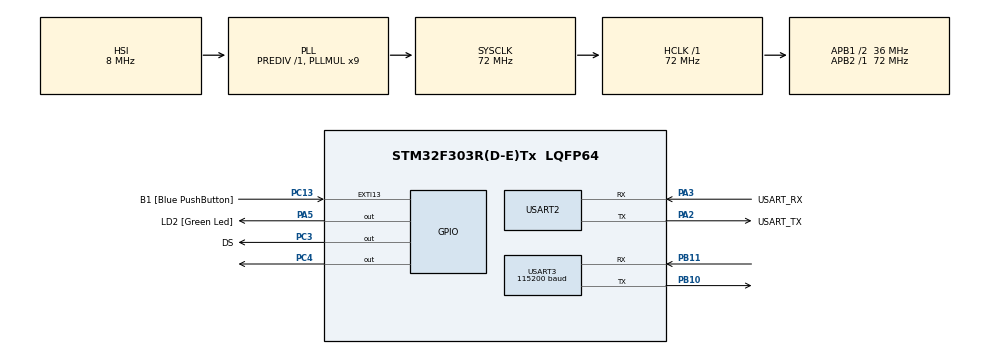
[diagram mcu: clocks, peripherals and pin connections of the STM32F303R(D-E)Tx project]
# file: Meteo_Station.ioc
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Mcu.Family=STM32F3
Mcu.Name=STM32F303R(D-E)Tx
Mcu.Package=LQFP64
NVIC.PriorityGroup=NVIC_PRIORITYGROUP_0
NVIC.TIM1_TRG_COM_TIM17_IRQn=true\:0\:0\:false\:false\:true\:true\:true\:true
NVIC.TIM1_UP_TIM16_IRQn=true\:0\:0\:false\:false\:true\:true\:true\:true
NVIC.USART3_IRQn=true\:0\:0\:false\:false\:true\:true\:true\:true
PA13.GPIO_Label=TMS
PA13.Signal=SYS_JTMS-SWDIO
PA14.GPIO_Label=TCK
PA14.Signal=SYS_JTCK-SWCLK
PA2.GPIO_Label=USART_TX
PA2.GPIO_Mode=GPIO_MODE_AF_PP
PA2.GPIO_PuPd=GPIO_NOPULL
PA2.GPIO_Speed=GPIO_SPEED_FREQ_LOW
PA2.Mode=Asynchronous
PA2.Signal=USART2_TX
PA3.GPIO_Label=USART_RX
PA3.GPIO_Mode=GPIO_MODE_AF_PP
PA3.GPIO_PuPd=GPIO_NOPULL
PA3.GPIO_Speed=GPIO_SPEED_FREQ_LOW
PA3.Mode=Asynchronous
PA3.Signal=USART2_RX
PA5.GPIO_Label=LD2 [Green Led]
PA5.GPIO_Mode=GPIO_MODE_OUTPUT_PP
PA5.GPIO_PuPd=GPIO_NOPULL
PA5.GPIO_Speed=GPIO_SPEED_FREQ_LOW
PA5.Signal=GPIO_Output
PB10.Mode=Asynchronous
PB10.Signal=USART3_TX
PB11.Mode=Asynchronous
PB11.Signal=USART3_RX
PB3.GPIO_Label=SWO
PB3.Signal=SYS_JTDO-TRACESWO
PC13.GPIO_Label=B1 [Blue PushButton]
PC13.GPIO_ModeDefaultEXTI=GPIO_MODE_IT_FALLING
PC13.Signal=GPXTI13
PC14-OSC32_IN.Mode=LSE-External-Oscillator
PC14-OSC32_IN.Signal=RCC_OSC32_IN
PC15-OSC32_OUT.Mode=LSE-External-Oscillator
PC15-OSC32_OUT.Signal=RCC_OSC32_OUT
PC3.GPIO_Label=DS
PC3.GPIO_ModeDefaultOutputPP=GPIO_MODE_OUTPUT_OD
PC3.GPIO_PuPd=GPIO_NOPULL
PC3.GPIO_Speed=GPIO_SPEED_FREQ_LOW
PC3.PinState=GPIO_PIN_SET
PC3.Signal=GPIO_Output
PC4.PinState=GPIO_PIN_SET
PC4.Signal=GPIO_Output
PF0-OSC_IN.Mode=HSE-External-Oscillator
PF0-OSC_IN.Signal=RCC_OSC_IN
PF1-OSC_OUT.Mode=HSE-External-Oscillator
PF1-OSC_OUT.Signal=RCC_OSC_OUT
ProjectManager.HeapSize=0x200
ProjectManager.StackSize=0x400
ProjectManager.TargetToolchain=STM32CubeIDE
RCC.AHBFreq_Value=72000000
RCC.APB1CLKDivider=RCC_HCLK_DIV2
RCC.APB1Freq_Value=36000000
RCC.APB1TimFreq_Value=72000000
RCC.APB2Freq_Value=72000000
RCC.APB2TimFreq_Value=72000000
RCC.CortexFreq_Value=72000000
RCC.HCLKFreq_Value=72000000
RCC.HSE_VALUE=8000000
RCC.HSI_VALUE=8000000
RCC.PLLM=8
RCC.PLLMUL=RCC_PLL_MUL9
RCC.PLLN=336
RCC.PLLP=RCC_PLLP_DIV4
RCC.PLLQ=7
RCC.RCC_PLLsource_Clock_Source_FROM_HSE=RCC_HSE_PREDIV_DIV2
RCC.SYSCLKFreq_VALUE=72000000
RCC.SYSCLKSourceVirtual=RCC_SYSCLKSOURCE_PLLCLK
RCC.USBFreq_Value=72000000
TIM16.Period=62499
TIM16.Prescaler=1151
TIM17.Period=49999
TIM4.Period=0xffff-1
TIM4.Prescaler=72-1
USART2.VirtualMode-Asynchronous=VM_ASYNC
USART3.BaudRate=115200
USART3.VirtualMode-Asynchronous=VM_ASYNC
VP_TIM16_VS_ClockSourceINT.Mode=Enable_Timer
VP_TIM17_VS_ClockSourceINT.Mode=Enable_Timer
VP_TIM4_VS_ClockSourceINT.Mode=Internal
board=NUCLEO-F303RE

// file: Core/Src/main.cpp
/* USER CODE BEGIN Header */
/**
  ******************************************************************************
  * @file           : main.c
  * @brief          : Main program body
  ******************************************************************************
  * @attention
  *
  * Copyright (c) 2024 STMicroelectronics.
  * All rights reserved.
  *
  * This software is licensed under terms that can be found in the LICENSE file
  * in the root directory of this software component.
  * If no LICENSE file comes with this software, it is provided AS-IS.
  *
  ******************************************************************************
  */
/* USER CODE END Header */
#include "main.h"
/* USER CODE BEGIN Includes */
#include "Manager.hpp"
#include <string>
/* USER CODE END Includes */

TIM_HandleTypeDef htim4;
TIM_HandleTypeDef htim16;
TIM_HandleTypeDef htim17;

UART_HandleTypeDef huart2;
UART_HandleTypeDef huart3;

/* USER CODE BEGIN PV */
Manager* project;
/* USER CODE END PV */

void SystemClock_Config(void);
static void MX_GPIO_Init(void);
static void MX_USART2_UART_Init(void);
static void MX_TIM4_Init(void);
static void MX_TIM16_Init(void);
static void MX_USART3_UART_Init(void);
static void MX_TIM17_Init(void);

/* USER CODE BEGIN 0 */
void HAL_UART_RxCpltCallback(UART_HandleTypeDef *huart) {
	if (huart->Instance == USART3) {
		project->M_WiFiReceivingInterupt();
	}
}

void HAL_TIM_PeriodElapsedCallback(TIM_HandleTypeDef *htim){
	if(htim->Instance == TIM17){
		project->M_WiFiCounterInterupt();
	}
	if(htim->Instance == TIM16){
		if(project->wifiStatus) {
			project->M_PeriodicReadings();
			project->M_SendMeasurements();
		}
	}
}
/* USER CODE END 0 */

int main(void)
{

  /* MCU Configuration--------------------------------------------------------*/

  /* Reset of all peripherals, Initializes the Flash interface and the Systick. */
  HAL_Init();

  /* Configure the system clock */
  SystemClock_Config();

  /* Initialize all configured peripherals */
  MX_GPIO_Init();
  MX_USART2_UART_Init();
  MX_TIM4_Init();
  MX_TIM16_Init();
  MX_USART3_UART_Init();
  MX_TIM17_Init();
  /* USER CODE BEGIN 2 */

  __HAL_RCC_TIM4_CLK_ENABLE();
  HAL_TIM_Base_Start(&htim4);

  project = new Manager();

  HAL_TIM_Base_Start_IT(&htim16);
  HAL_TIM_Base_Start_IT(&htim17);
  /* USER CODE END 2 */

  /* Infinite loop */
  while (1)
  {
	project->M_ComponentInit();
	if(project->wifiStatus) {
		project->M_PeriodicReadings();
		project->M_SendMeasurements();
		HAL_Delay(180000);
	}
  }
}

void SystemClock_Config(void)
{
  RCC_OscInitTypeDef RCC_OscInitStruct = {0};
  RCC_ClkInitTypeDef RCC_ClkInitStruct = {0};
  RCC_PeriphCLKInitTypeDef PeriphClkInit = {0};

  /** Initializes the RCC Oscillators according to the specified parameters
  * in the RCC_OscInitTypeDef structure.
  */
  RCC_OscInitStruct.OscillatorType = RCC_OSCILLATORTYPE_HSI;
  RCC_OscInitStruct.HSIState = RCC_HSI_ON;
  RCC_OscInitStruct.HSICalibrationValue = RCC_HSICALIBRATION_DEFAULT;
  RCC_OscInitStruct.PLL.PLLState = RCC_PLL_ON;
  RCC_OscInitStruct.PLL.PLLSource = RCC_PLLSOURCE_HSI;
  RCC_OscInitStruct.PLL.PLLMUL = RCC_PLL_MUL9;
  RCC_OscInitStruct.PLL.PREDIV = RCC_PREDIV_DIV1;
  if (HAL_RCC_OscConfig(&RCC_OscInitStruct) != HAL_OK)
  {
    Error_Handler();
  }

  /** Initializes the CPU, AHB and APB buses clocks
  */
  RCC_ClkInitStruct.ClockType = RCC_CLOCKTYPE_HCLK|RCC_CLOCKTYPE_SYSCLK
                              |RCC_CLOCKTYPE_PCLK1|RCC_CLOCKTYPE_PCLK2;
  RCC_ClkInitStruct.SYSCLKSource = RCC_SYSCLKSOURCE_PLLCLK;
  RCC_ClkInitStruct.AHBCLKDivider = RCC_SYSCLK_DIV1;
  RCC_ClkInitStruct.APB1CLKDivider = RCC_HCLK_DIV2;
  RCC_ClkInitStruct.APB2CLKDivider = RCC_HCLK_DIV1;

  if (HAL_RCC_ClockConfig(&RCC_ClkInitStruct, FLASH_LATENCY_2) != HAL_OK)
  {
    Error_Handler();
  }
  PeriphClkInit.PeriphClockSelection = RCC_PERIPHCLK_USART2|RCC_PERIPHCLK_USART3
                              |RCC_PERIPHCLK_TIM16|RCC_PERIPHCLK_TIM17
                              |RCC_PERIPHCLK_TIM34;
  PeriphClkInit.Usart2ClockSelection = RCC_USART2CLKSOURCE_PCLK1;
  PeriphClkInit.Usart3ClockSelection = RCC_USART3CLKSOURCE_PCLK1;
  PeriphClkInit.Tim16ClockSelection = RCC_TIM16CLK_HCLK;
  PeriphClkInit.Tim17ClockSelection = RCC_TIM17CLK_HCLK;
  PeriphClkInit.Tim34ClockSelection = RCC_TIM34CLK_HCLK;
  if (HAL_RCCEx_PeriphCLKConfig(&PeriphClkInit) != HAL_OK)
  {
    Error_Handler();
  }
}

static void MX_TIM4_Init(void)
{

  TIM_ClockConfigTypeDef sClockSourceConfig = {0};
  TIM_MasterConfigTypeDef sMasterConfig = {0};

  htim4.Instance = TIM4;
  htim4.Init.Prescaler = 72-1;
  htim4.Init.CounterMode = TIM_COUNTERMODE_UP;
  htim4.Init.Period = 0xffff-1;
  htim4.Init.ClockDivision = TIM_CLOCKDIVISION_DIV1;
  htim4.Init.AutoReloadPreload = TIM_AUTORELOAD_PRELOAD_DISABLE;
  if (HAL_TIM_Base_Init(&htim4) != HAL_OK)
  {
    Error_Handler();
  }
  sClockSourceConfig.ClockSource = TIM_CLOCKSOURCE_INTERNAL;
  if (HAL_TIM_ConfigClockSource(&htim4, &sClockSourceConfig) != HAL_OK)
  {
    Error_Handler();
  }
  sMasterConfig.MasterOutputTrigger = TIM_TRGO_RESET;
  sMasterConfig.MasterSlaveMode = TIM_MASTERSLAVEMODE_DISABLE;
  if (HAL_TIMEx_MasterConfigSynchronization(&htim4, &sMasterConfig) != HAL_OK)
  {
    Error_Handler();
  }

}

static void MX_TIM16_Init(void)
{

  htim16.Instance = TIM16;
  htim16.Init.Prescaler = 64871;
  htim16.Init.CounterMode = TIM_COUNTERMODE_UP;
  htim16.Init.Period = 65481;
  htim16.Init.ClockDivision = TIM_CLOCKDIVISION_DIV1;
  htim16.Init.RepetitionCounter = 0;
  htim16.Init.AutoReloadPreload = TIM_AUTORELOAD_PRELOAD_DISABLE;
  if (HAL_TIM_Base_Init(&htim16) != HAL_OK)
  {
    Error_Handler();
  }

}

static void MX_TIM17_Init(void)
{

  htim17.Instance = TIM17;
  htim17.Init.Prescaler = 11;
  htim17.Init.CounterMode = TIM_COUNTERMODE_UP;
  htim17.Init.Period = 59999;
  htim17.Init.ClockDivision = TIM_CLOCKDIVISION_DIV1;
  htim17.Init.RepetitionCounter = 0;
  htim17.Init.AutoReloadPreload = TIM_AUTORELOAD_PRELOAD_DISABLE;
  if (HAL_TIM_Base_Init(&htim17) != HAL_OK)
  {
    Error_Handler();
  }

}

static void MX_USART2_UART_Init(void)
{

  huart2.Instance = USART2;
  huart2.Init.BaudRate = 38400;
  huart2.Init.WordLength = UART_WORDLENGTH_8B;
  huart2.Init.StopBits = UART_STOPBITS_1;
  huart2.Init.Parity = UART_PARITY_NONE;
  huart2.Init.Mode = UART_MODE_TX_RX;
  huart2.Init.HwFlowCtl = UART_HWCONTROL_NONE;
  huart2.Init.OverSampling = UART_OVERSAMPLING_16;
  huart2.Init.OneBitSampling = UART_ONE_BIT_SAMPLE_DISABLE;
  huart2.AdvancedInit.AdvFeatureInit = UART_ADVFEATURE_NO_INIT;
  if (HAL_UART_Init(&huart2) != HAL_OK)
  {
    Error_Handler();
  }

}

static void MX_USART3_UART_Init(void)
{

  huart3.Instance = USART3;
  huart3.Init.BaudRate = 115200;
  huart3.Init.WordLength = UART_WORDLENGTH_8B;
  huart3.Init.StopBits = UART_STOPBITS_1;
  huart3.Init.Parity = UART_PARITY_NONE;
  huart3.Init.Mode = UART_MODE_TX_RX;
  huart3.Init.HwFlowCtl = UART_HWCONTROL_NONE;
  huart3.Init.OverSampling = UART_OVERSAMPLING_16;
  huart3.Init.OneBitSampling = UART_ONE_BIT_SAMPLE_DISABLE;
  huart3.AdvancedInit.AdvFeatureInit = UART_ADVFEATURE_NO_INIT;
  if (HAL_UART_Init(&huart3) != HAL_OK)
  {
    Error_Handler();
  }

}

static void MX_GPIO_Init(void)
{
  GPIO_InitTypeDef GPIO_InitStruct = {0};

  /* GPIO Ports Clock Enable */
  __HAL_RCC_GPIOC_CLK_ENABLE();
  __HAL_RCC_GPIOF_CLK_ENABLE();
  __HAL_RCC_GPIOA_CLK_ENABLE();
  __HAL_RCC_GPIOB_CLK_ENABLE();

  /*Configure GPIO pin Output Level */
  HAL_GPIO_WritePin(GPIOC, DS_Pin|GPIO_PIN_4, GPIO_PIN_SET);

  /*Configure GPIO pin Output Level */
  HAL_GPIO_WritePin(LD2_GPIO_Port, LD2_Pin, GPIO_PIN_RESET);

  /*Configure GPIO pin : B1_Pin */
  GPIO_InitStruct.Pin = B1_Pin;
  GPIO_InitStruct.Mode = GPIO_MODE_IT_FALLING;
  GPIO_InitStruct.Pull = GPIO_NOPULL;
  HAL_GPIO_Init(B1_GPIO_Port, &GPIO_InitStruct);

  /*Configure GPIO pin : DS_Pin */
  GPIO_InitStruct.Pin = DS_Pin;
  GPIO_InitStruct.Mode = GPIO_MODE_OUTPUT_OD;
  GPIO_InitStruct.Pull = GPIO_NOPULL;
  GPIO_InitStruct.Speed = GPIO_SPEED_FREQ_LOW;
  HAL_GPIO_Init(DS_GPIO_Port, &GPIO_InitStruct);

  /*Configure GPIO pin : LD2_Pin */
  GPIO_InitStruct.Pin = LD2_Pin;
  GPIO_InitStruct.Mode = GPIO_MODE_OUTPUT_PP;
  GPIO_InitStruct.Pull = GPIO_NOPULL;
  GPIO_InitStruct.Speed = GPIO_SPEED_FREQ_LOW;
  HAL_GPIO_Init(LD2_GPIO_Port, &GPIO_InitStruct);

  /*Configure GPIO pin : PC4 */
  GPIO_InitStruct.Pin = GPIO_PIN_4;
  GPIO_InitStruct.Mode = GPIO_MODE_OUTPUT_PP;
  GPIO_InitStruct.Pull = GPIO_NOPULL;
  GPIO_InitStruct.Speed = GPIO_SPEED_FREQ_HIGH;
  HAL_GPIO_Init(GPIOC, &GPIO_InitStruct);

}

void Error_Handler(void)
{
  __disable_irq();
  while (1)
  {
  }
}
